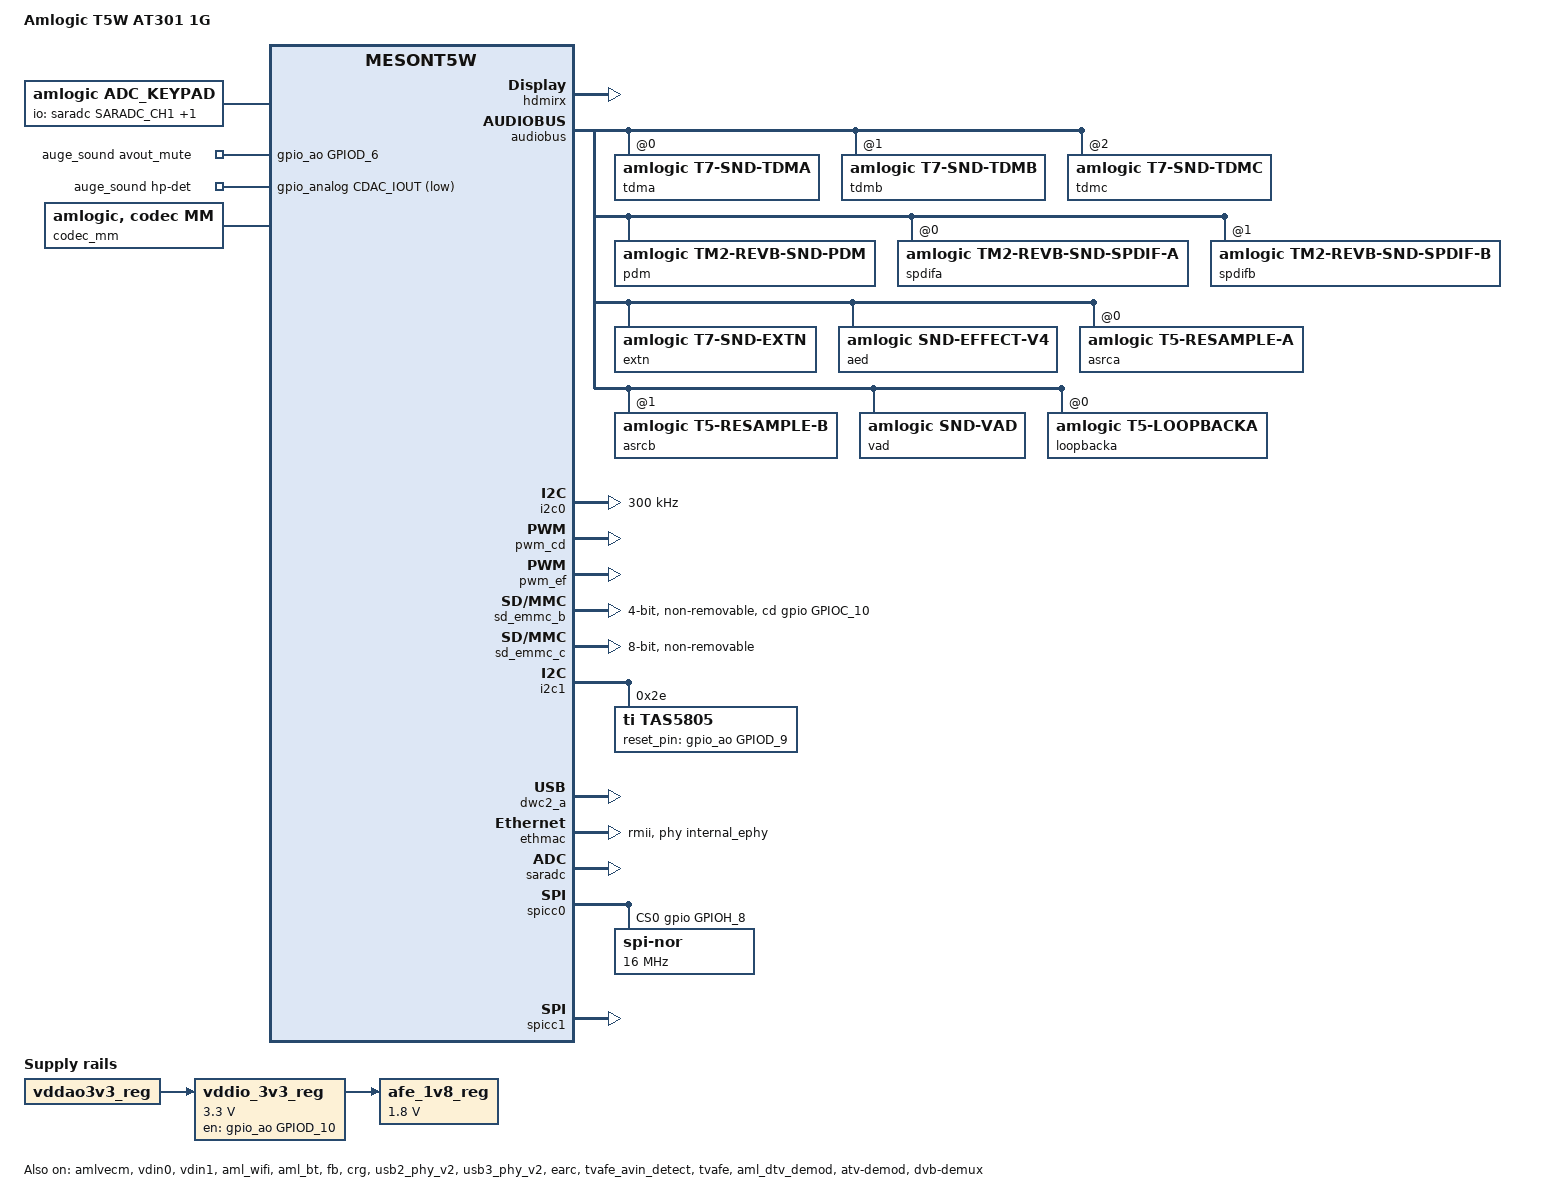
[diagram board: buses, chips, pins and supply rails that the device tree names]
// SPDX-License-Identifier: (GPL-2.0+ OR MIT)
/*
 * Copyright (c) 2021 Amlogic, Inc. All rights reserved.
 */

/dts-v1/;

#include "mesont5w.dtsi"
#include "partition_mbox_ab.dtsi"
#include "mesont5w_at301-panel.dtsi"

/ {
	model = "Amlogic T5W AT301 1G";
	amlogic-dt-id = "t5w_at301_1g";
	compatible = "amlogic, t5w";
	interrupt-parent = <&gic>;
	#address-cells = <2>;
	#size-cells = <2>;

	aliases {
		serial0 = &uart_B;
		serial1 = &uart_A;
		serial2 = &uart_C;
		i2c0 = &i2c0;
		i2c1 = &i2c1;
		i2c2 = &i2c2;
		i2c3 = &i2c3;
		spi1 = &spicc0;
		spi2 = &spicc1;
		spi3 = &spicc2;
		tsensor0 = &p_tsensor;
	};

	memory@00000000 {
		device_type = "memory";
		linux,usable-memory = <0x0 0x0 0x0 0x40000000>;
	};

	reserved-memory {
		#address-cells = <2>;
		#size-cells = <2>;
		ranges;
		/* global autoconfigured region for contiguous allocations */

		secmon_reserved: linux,secmon {
			compatible = "shared-dma-pool";
			reusable;
			size = <0x0 0x400000>;
			alignment = <0x0 0x400000>;
			alloc-ranges = <0x0 0x5000000 0x0 0x400000>;
		};

		logo_reserved:linux,meson-fb {
			compatible = "shared-dma-pool";
			reusable;
			/* keep sync with fb */
			/* fox example:logo_addr = "0x3f800000"*/
			size = <0x0 0x800000>;
			alignment = <0x0 0x400000>;
			alloc-ranges = <0x0 0x3f800000 0x0 0x800000>;
		};

		lcd_tcon_reserved:linux,lcd_tcon {
			compatible = "shared-dma-pool";
			reusable;
			/* alloc-ranges start should not be 0x0*/
			size = <0x0 0x00000000>;
			alignment = <0x0 0x400000>;
			/* alloc-ranges = <0x0 0x0 0x0 0x3f800000>; */
		};

		/*  vdin0 CMA pool */
		/*vdin0_cma_reserved:linux,vdin0_cma {*/
		/*	compatible = "shared-dma-pool";*/
		/*	reusable;*/
			/* up to 1920x1080 yuv422 8bit and 5 buffers
			 * 1920x1080x2x5 = 20 M
			 */
		/*	size = <0x0 0x01400000>;*/
		/*	alignment = <0x0 0x400000>;*/
		/*};*/
		/*  vdin1 CMA pool */
		vdin1_cma_reserved:linux,vdin1_cma {
			compatible = "shared-dma-pool";
			reusable;
			/* up to 1920x1080 yuv422 8bit and 5 buffers
			 * 1920x1080x2x5 = 20 M
			 */
			size = <0x0 0x01400000>;
			alignment = <0x0 0x400000>;
			alloc-ranges = <0x0 0x30000000 0x0 0x0f800000>;
		};

		codec_mm_cma:linux,codec_mm_cma {
			compatible = "shared-dma-pool";
			reusable;
			/* ion_codec_mm max can alloc size 80M*/
			size = <0x0 0x14c00000>;
			alignment = <0x0 0x400000>;
			linux,contiguous-region;
			alloc-ranges = <0x0 0x07400000 0x0 0x14c00000>;
		};

		/*di CMA pool */
		di_cma_reserved:linux,di_cma {
			compatible = "shared-dma-pool";
			reusable;
			/* buffer_size = 3621952(yuv422 8bit)
			 *  | 4736064(yuv422 10bit)
			 *  | 4074560(yuv422 10bit full pack mode)
			 * 10x3621952=34.6M(0x23) support 8bit
			 * 10x4736064=45.2M(0x2e) support 12bit
			 * 10x4074560=40M(0x28) support 10bit
			 */
			//size = <0x0 0x0B000000>;
			size = <0x0 0x0>;
			alignment = <0x0 0x400000>;
		};

		/* codec shared reserved */
		codec_mm_reserved:linux,codec_mm_reserved {
			compatible = "amlogic, codec-mm-reserved";
			size = <0x0 0x0>;
			alignment = <0x0 0x100000>;
			//no-map;
		};

		ion_cma_reserved:linux,ion-dev {
			compatible = "shared-dma-pool";
			reusable;
			/* device/amlogic/xxx/BoardConfig.mk
			 *        |HWC_PRIMARY_FRAMEBUFFER_WIDTH := 1920
			 *        |HWC_PRIMARY_FRAMEBUFFER_HEIGHT := 1080
			 *        |NUM_FRAMEBUFFER_SURFACE_BUFFERS := 3
			 * size = 1920 * 1080 * 3 * 4
			 * (RGBA: 4 bytes/pixel) + 4M(10% * afbc)
			 */
			size = <0x0 0x8000000>;
			alignment = <0x0 0x400000>;
			alloc-ranges = <0x0 0x30000000 0x0 0x0f800000>;
		};

		ion_fb_reserved:linux,ion-fb {
			compatible = "shared-dma-pool";
			reusable;
			/* 1920x1080x4x3 round up 4M align */
			size = <0x0 0x1c00000>;
			alignment = <0x0 0x400000>;
			alloc-ranges = <0x0 0x30000000 0x0 0x0f800000>;
		};

		ldc_mem_reserved:linux,ldc_mem {
			compatible = "shared-dma-pool";
			reusable;
			size = <0x0 0x400000>;
			alignment = <0x0 0x400000>;
			alloc-ranges = <0x0 0x30000000 0x0 0x0f800000>;
		};
	};

	vddio_3v3_reg: fixedregulator@5{
		vin-supply = <&vddao3v3_reg>;
		compatible = "regulator-fixed";
		regulator-name = "VDDIO_3V3";
		regulator-min-microvolt = <3300000>;
		regulator-max-microvolt = <3300000>;
		regulator-boot-on;
/*		pinctrl-names = "default"; */
		gpio = <&gpio_ao GPIOD_10 GPIO_ACTIVE_HIGH>;	/* gpio d 10 */
		startup-delay-us = <70000>;
		enable-active-high;
	};

	afe_1v8_reg: fixedregulator@6{
		compatible = "regulator-fixed";
		vin-supply = <&vddio_3v3_reg>;
		regulator-name = "AFE_1V8";
		regulator-min-microvolt = <1800000>;
		regulator-max-microvolt = <1800000>;
		regulator-boot-on;
		regulator-always-on;
	};

	unifykey{
		compatible = "amlogic,unifykey";
		status = "okay";
		unifykey-num = <24>;
		unifykey-index-0 = <&keysn_0>;
		unifykey-index-1 = <&keysn_1>;
		unifykey-index-2 = <&keysn_2>;
		unifykey-index-3 = <&keysn_3>;
		unifykey-index-4 = <&keysn_4>;
		unifykey-index-5 = <&keysn_5>;
		unifykey-index-6 = <&keysn_6>;
		unifykey-index-7 = <&keysn_7>;
		unifykey-index-8 = <&keysn_8>;
		unifykey-index-9 = <&keysn_9>;
		unifykey-index-10= <&keysn_10>;
		unifykey-index-11= <&keysn_11>;
		unifykey-index-12= <&keysn_12>;
		unifykey-index-13= <&keysn_13>;
		unifykey-index-14= <&keysn_14>;
		unifykey-index-15= <&keysn_15>;
		unifykey-index-16= <&keysn_16>;
		unifykey-index-17= <&keysn_17>;
		unifykey-index-18= <&keysn_18>;
		unifykey-index-19= <&keysn_19>;
		unifykey-index-20= <&keysn_20>;
		unifykey-index-21= <&keysn_21>;
		unifykey-index-22= <&keysn_22>;
		unifykey-index-23= <&keysn_23>;

		keysn_0: key_0{
			key-name = "usid";
			key-device = "normal";
			key-permit = "read","write","del";
		};
		keysn_1:key_1{
			key-name = "mac";
			key-device = "normal";
			key-permit = "read","write","del";
		};
		keysn_2:key_2{
			key-name = "hdcp";
			key-device = "secure";
			key-type = "sha1";
			key-permit = "read","write","del";
		};
		keysn_3:key_3{
			key-name = "secure_boot_set";
			key-device = "efuse";
			key-permit = "write";
		};
		keysn_4:key_4{
			key-name = "mac_bt";
			key-device = "normal";
			key-permit = "read","write","del";
			key-type  = "mac";
		};
		keysn_5:key_5{
			key-name = "mac_wifi";
			key-device = "normal";
			key-permit = "read","write","del";
			key-type = "mac";
		};
		keysn_6:key_6{
			key-name = "hdcp2_tx";
			key-device = "normal";
			key-permit = "read","write","del";
		};
		keysn_7:key_7{
			key-name = "hdcp2_rx";
			key-device = "normal";
			key-permit = "read","write","del";
		};
		keysn_8:key_8{
			key-name = "widevinekeybox";
			key-device = "secure";
			key-permit = "read","write","del";
		};
		keysn_9:key_9{
			key-name = "deviceid";
			key-device = "normal";
			key-permit = "read","write","del";
		};
		keysn_10:key_10{
			key-name = "hdcp22_fw_private";
			key-device = "secure";
			key-permit = "read","write","del";
		};
		keysn_11:key_11{
			key-name = "PlayReadykeybox25";
			key-device = "secure";
			key-permit = "read","write","del";
		};
		keysn_12:key_12{
			key-name = "prpubkeybox";// PlayReady
			key-device = "secure";
			key-permit = "read","write","del";
		};
		keysn_13:key_13{
			key-name = "prprivkeybox";// PlayReady
			key-device = "secure";
			key-permit = "read","write","del";
		};
		keysn_14:key_14{
			key-name = "attestationkeybox";// attestation key
			key-device = "secure";
			key-permit = "read","write","del";
		};
		keysn_15:key_15{
			key-name = "region_code";
			key-device = "normal";
			key-permit = "read","write","del";
		};
		keysn_16:key_16{
			key-name = "netflix_mgkid";
			key-device = "secure";
			key-permit = "read","write","del";
		};
		keysn_17:key_17{
			key-name = "attestationdevidbox";// attest dev id box
			key-device = "secure";
			key-permit = "read","write","del";
		};
		keysn_18:key_18{
			key-name = "oemkey";
			key-device = "normal";
			key-permit = "read","write","del";
		};
		keysn_19:key_19{
			key-name = "lcd";
			key-device = "normal";
			key-permit = "read","write","del";
		};
		keysn_20:key_20{
			key-name = "lcd_extern";
			key-device = "normal";
			key-permit = "read","write","del";
		};
		keysn_21:key_21{
			key-name = "backlight";
			key-device = "normal";
			key-permit = "read","write","del";
		};
		keysn_22:key_22{
			key-name = "lcd_tcon";
			key-device = "normal";
			key-permit = "read","write","del";
		};
		keysn_23:key_23{
			key-name = "lcd_tcon_spi";
			key-device = "normal";
			key-permit = "read","write","del";
		};
	};//End unifykey

	cvbsout {
		compatible = "amlogic, cvbsout-t5w";
		status = "okay";
		/* clk path */
		/* 0:vid_pll vid2_clk */
		/* 2:vid_pll vid1_clk */
		clk_path = <0>;

		/* performance: reg_address, reg_value */
		/* tm2 */
		performance = <0x1bf0  0x9
			0x1b56  0x333
			0x1b12  0x8080
			0x1b05  0xfd
			0x1c59  0xf850
			0xffff  0x0>; /* ending flag */
		performance_sarft = <0x1bf0  0x9
			0x1b56  0x333
			0x1b12  0x0
			0x1b05  0x9
			0x1c59  0xfc48
			0xffff  0x0>; /* ending flag */
		performance_revB_telecom = <0x1bf0  0x9
			0x1b56  0x546
			0x1b12  0x8080
			0x1b05  0x9
			0x1c59  0xf850
			0xffff  0x0>; /* ending flag */
	};

	/* for external keypad */
	adc_keypad {
		compatible = "amlogic, adc_keypad";
		status = "okay";
		key_name = "power","vol-","vol+","enter","menu","source","exit";
		key_num = <7>;
		io-channels = <&saradc SARADC_CH1>,<&saradc SARADC_CH2>;
		io-channel-names = "key-chan-1", "key-chan-2";
		key_chan = <SARADC_CH1 SARADC_CH1 SARADC_CH1 SARADC_CH1
			SARADC_CH1 SARADC_CH2 SARADC_CH2>;
		key_code = <116 114 115 28 139 466 174>;
		key_val = <0 143 266 389 507 143 266>; //val=voltage/1800mV*1023
		key_tolerance = <40 40 40 40 40 40 40>;
	};

	/* Audio Related start */
	auge_sound {
		compatible = "amlogic, auge-sound-card";
		aml-audio-card,name = "AML-AUGESOUND";

		avout_mute-gpios = <&gpio_ao GPIOD_6 GPIO_ACTIVE_HIGH>;

		/* headphone insert det */
		aml-audio-card,hp-det-gpio = <&gpio_analog CDAC_IOUT GPIO_ACTIVE_LOW>;

		interrupts = <GIC_SPI 235 IRQ_TYPE_EDGE_RISING>;
		interrupt-names = "audio_exception64";

		aml-audio-card,dai-link@0 {
			format = "i2s";
			mclk-fs = <256>;
			//continuous-clock;
			//bitclock-inversion;
			//frame-inversion;
			/* master mode */
			bitclock-master = <&tdma>;
			frame-master = <&tdma>;
			/* slave mode */
			/*
			 * bitclock-master = <&tdmacodec>;
			 * frame-master = <&tdmacodec>;
			 */
			/* suffix-name, sync with android audio hal used for */
			suffix-name = "alsaPORT-pcm";
			tdmacpu: cpu {
				sound-dai = <&tdma>;
				dai-tdm-slot-tx-mask =
							<1 1>;
				dai-tdm-slot-rx-mask =
							<1 1>;
				dai-tdm-slot-num = <2>;
				dai-tdm-slot-width = <32>;
				system-clock-frequency = <12288000>;
			};
			tdmacodec: codec {
				sound-dai = <&dummy_codec>;
			};
		};

		aml-audio-card,dai-link@1 {
			format = "i2s";
			mclk-fs = <256>;
			//continuous-clock;
			//bitclock-inversion;
			//frame-inversion;
			/* master mode */
			bitclock-master = <&tdmb>;
			frame-master = <&tdmb>;
			/* slave mode */
			//bitclock-master = <&tdmbcodec>;
			//frame-master = <&tdmbcodec>;
			/* suffix-name, sync with android audio hal used for */
			suffix-name = "alsaPORT-i2s-i2s4hdmirx";
			cpu {
				sound-dai = <&tdmb>;
				dai-tdm-slot-tx-mask = <1 1>;
				dai-tdm-slot-rx-mask = <1 1>;
				dai-tdm-slot-num = <2>;
				dai-tdm-slot-width = <32>;
				system-clock-frequency = <12288000>;
			};
			tdmbcodec: codec {
				prefix-names = "AMP";
				sound-dai = <&tas5805 &acodec>;
			};
		};

		aml-audio-card,dai-link@2 {
			format = "i2s";
			mclk-fs = <256>;
			//continuous-clock;
			//bitclock-inversion;
			//frame-inversion;
			/* master mode */
			bitclock-master = <&tdmc>;
			frame-master = <&tdmc>;
			/* slave mode */
			//bitclock-master = <&tdmccodec>;
			//frame-master = <&tdmccodec>;
			/* suffix-name, sync with android audio hal used for */
			suffix-name = "alsaPORT-i2s4parser";
			cpu {
				sound-dai = <&tdmc>;
				dai-tdm-slot-tx-mask = <1 1>;
				dai-tdm-slot-rx-mask = <1 1>;
				dai-tdm-slot-num = <2>;
				dai-tdm-slot-width = <32>;
				system-clock-frequency = <12288000>;
			};
			tdmccodec: codec {
				sound-dai = <&dummy_codec>;
			};
		};

		aml-audio-card,dai-link@3 {
			mclk-fs = <64>;
			/* suffix-name, sync with android audio hal used for */
			suffix-name = "alsaPORT-pdm";
			cpu {
				sound-dai = <&pdm>;
			};
			codec {
				sound-dai = <&dummy_codec>;
			};
		};

		aml-audio-card,dai-link@4 {
			mclk-fs = <128>;
			continuous-clock;
			/* suffix-name, sync with android audio hal used for */
			suffix-name = "alsaPORT-spdif";
			cpu {
				sound-dai = <&spdifa>;
				system-clock-frequency = <6144000>;
			};
			codec {
				sound-dai = <&dummy_codec>;
			};
		};

		aml-audio-card,dai-link@5 {
			mclk-fs = <128>;
			suffix-name = "alsaPORT-spdifb";
			cpu {
				sound-dai = <&spdifb>;
				system-clock-frequency = <6144000>;
			};
			codec {
				sound-dai = <&dummy_codec>;
			};
		};

		aml-audio-card,dai-link@6 {
			mclk-fs = <256>;
			suffix-name = "alsaPORT-tv";
			cpu {
				sound-dai = <&extn>;
				system-clock-frequency = <12288000>;
			};
			codec {
				sound-dai = <&dummy_codec>;
			};
		};

		aml-audio-card,dai-link@7 {
			mclk-fs = <256>;
			continuous-clock;
			suffix-name = "alsaPORT-loopback";
			cpu {
				sound-dai = <&loopbacka>;
				system-clock-frequency = <12288000>;
			};
			codec {
				sound-dai = <&dummy_codec>;
			};
		};

		aml-audio-card,dai-link@8 {
			mclk-fs = <256>;
			suffix-name = "alsaPORT-earc";
			cpu {
				sound-dai = <&earc>;
				system-clock-frequency = <12288000>;
			};
			codec {
				sound-dai = <&dummy_codec>;
			};
		};

	};

	codec_mm {
		compatible = "amlogic, codec, mm";
		memory-region = <&codec_mm_cma &codec_mm_reserved>;
		dev_name = "codec_mm";
		status = "okay";
	};

	tvafe_avin_detect {
		compatible = "amlogic, t5w_tvafe_avin_detect";
		status = "okay";
		device_mask = <1>;/*bit0:ch1;bit1:ch2*/
		reg = <0x0 0xffd00000 0x0 0xf0a0>; /* cvbs irq base */
		interrupts = <0 12 1>,
				<0 13 1>;
	};

	tvafe {
		compatible = "amlogic, tvafe-t5w";
		/*memory-region = <&tvafe_cma_reserved>;*/
		status = "okay";
		flag_cma = <1>;/*1:share with codec_mm;0:cma alone*/
		cma_size = <5>;/*MByte*/
		reg = <0x0 0xff654000 0x0 0x2000/*tvafe reg base*/
			0x0 0xff63C000 0x0 0x2000>; /*hiu reg base*/
		reserve-iomap = "true";
		tvafe_id = <0>;
		//pinctrl-names = "default";
		/*!!particular sequence, no more and no less!!!*/
		tvafe_pin_mux = <
				3 /* TVAFE_CVBS_IN2, CVBS_IN0 = 0 */
				1 /* TVAFE_CVBS_IN0, CVBS_IN1 */
				2 /* TVAFE_CVBS_IN1, CVBS_IN2 */
				4 /* TVAFE_CVBS_IN3, CVBS_IN3 */
		>;
		clocks = <&clkc CLKID_CDAC_CLK>;
		clock-names = "vdac_clk_gate";
		cutwindow_val_h = <0 0 0 0 8>; /* level 0~4 */
		cutwindow_val_v = <4 8 14 16 24>;  /* level 0~4 */
	};

	vbi {
		compatible = "amlogic, vbi";
		status = "okay";
		interrupts = <0 83 1>;
	};

	hdmirx {
		compatible = "amlogic, hdmirx_t5w";
		#address-cells=<1>;
		#size-cells=<1>;
		/*memory-region = <&hdmirx_emp_cma_reserved>;*/
		status = "okay";
		pinctrl-names = "hdmirx_pins";
		pinctrl-0 = <&hdmirx_a_mux &hdmirx_b_mux
			&hdmirx_c_mux>;
		repeat = <0>;
		/*power-domains = <&pwrdm PDID_T5W_HDMIRX>;*/
		interrupts = <0 41 IRQ_TYPE_LEVEL_HIGH>;
		clocks =<&clkc CLKID_HDMIRX_CFG>,
			   <&clkc CLKID_HDMIRX_ACR>,
			   <&clkc CLKID_HDMIRX_METER>,
			   <&clkc CLKID_HDMIRX_2M>,
			   <&clkc CLKID_HDMIRX_5M>,
			   <&clkc CLKID_HDMIRX_HDCP>,
			   <&xtal>,
			   <&clkc CLKID_FCLK_DIV4>,
			   <&clkc CLKID_FCLK_DIV5>;
		clock-names = "hdmirx_cfg_clk",
				"cts_hdmirx_acr_ref_clk",
				"cts_hdmirx_meter_clk",
				"cts_hdmirx_2m_clk",
				"cts_hdmirx_5m_clk",
				"cts_hdmirx_hdcp2x_eclk",
				"xtal",
				"fclk_div4",
				"fclk_div5";
		hdmirx_id = <0>;
		en_4k_2_2k = <0>;
		hpd_low_cec_off = <0>;
		arc_port = <1>;
		/* bit4: enable feature, bit3~0: port number */
		disable_port = <0x0>;
		/* MAP_ADDR_MODULE_CBUS */
		/* MAP_ADDR_MODULE_HIU */
		/* MAP_ADDR_MODULE_HDMIRX_CAPB3 */
		/* MAP_ADDR_MODULE_SEC_AHB */
		/* MAP_ADDR_MODULE_SEC_AHB2 */
		/* MAP_ADDR_MODULE_APB4 */
		/* MAP_ADDR_MODULE_TOP */
		/* MAP_ADDR_MODULE_CLK_CTRL */
		/* MAP_ADDR_MODULE_ANA_CTRL */
		reg = < 0x0 0x0 0x0 0x0
			0x0 0xff63C000 0x0 0x2000
			0x0 0xffe0d000 0x0 0x2000
			0x0 0x0 0x0 0x0
			0x0 0x0 0x0 0x0
			0x0 0x0 0x0 0x0
			0x0 0xff688000 0x0 0x18000
			0x0 0xff646000 0x0 0x1fff
			0x0 0xfe008000 0x280 0x334>;
	};

	aml_dtv_demod {
		compatible = "amlogic, ddemod-t5w";
		dev_name = "aml_dtv_demod";
		status = "okay";
		diseqc_name = "sgm_41286";
		pinctrl-names="if_agc_pins", "diseqc", "rf_agc_pins";
		pinctrl-0=<&dtvdemod_if_agc_pins>;
		pinctrl-1=<&diseqc_out>;
		pinctrl-2=<&dtvdemod_rf_agc_pins>;
		lnb_en-gpios = <&gpio GPIOZ_2 GPIO_ACTIVE_HIGH>;
		lnb_sel-gpios = <&gpio GPIOZ_3 GPIO_ACTIVE_HIGH>;
		interrupts = <GIC_SPI 142 IRQ_TYPE_EDGE_RISING>;
		interrupt-names = "demod_isr";

		power-domains = <&pwrdm PDID_T5_DEMOD>;
		clocks = <&clkc CLKID_DEMOD_32K>;
		clock-names = "demod_32k";

		reg = <0x0 0xff670000 0x0 0x10000	/*dtv demod base*/
			   0x0 0xff646000 0x0 0x2000	/*hiu reg base*/
			   0x0 0xff800000 0x0 0x1000	/*io_aobus_base*/
			   0x0 0xffd01000 0x0 0x1000	/*reset*/
			>;

		spectrum = <1>;
		cma_mem_size = <40>; // MB
	};

	atv-demod {
		compatible = "amlogic, atv-demod";
		status = "okay";
		btsc_sap_mode = <1>;
		interrupts = <0 236 1>;
		/* pinctrl-names="atvdemod_agc_pins"; */
		/* pinctrl-0=<&atvdemod_agc_pins>; */
		reg = <0x0 0xff656000 0x0 0x2000 /* demod reg */
				0x0 0xff646000 0x0 0x2000 /* hiu reg */
				0x0 0xff634400 0x0 0x400 /* periphs reg */
				0x0 0xff64a000 0x0 0x2000>; /* audio reg */
		reg_23cf = <0x88188832>;
		/*default:0x88188832;r840 on haier:0x48188832*/
	};

	dvb-extern {
		compatible = "amlogic, dvb-extern";
		dev_name = "dvb-extern";
		status = "okay";

		fe_num = <1>;
		fe0_demod = "internal";

		tuner_num = <2>; /* tuner number, multi tuner support */
		tuner0_name = "si2151_tuner";
		tuner0_i2c_adap = <&i2c0>;
		tuner0_i2c_addr = <0x60>; /* 7 bits */
		/* tuner0_xtal = <1>; */ /* unuse for si2151 */
		/* tuner0_xtal_mode = <0>; */
		/* tuner0_xtal_cap = <8>; */

		tuner1_name = "rt710_tuner";
		tuner1_i2c_adap = <&i2c0>;
		tuner1_i2c_addr = <0xF4>;  /* 8 bits */
		tuner1_xtal = <0>; /* 0: 16MHz, 1: 24MHz */
		tuner1_xtal_mode = <0>;
					/* NO_SHARE_XTAL(0)
					 * SLAVE_XTAL_SHARE(3)
					 */
		tuner1_xtal_cap = <30>;
	};

	dmx_aucpu: aucpu {
		compatible = "amlogic, aucpu";
		dev_name = "aml_aucpu";
		status = "okay";
		interrupts = <0 95 1>;
		interrupt-names = "aucpu_irq";

		#address-cells=<2>;
		#size-cells=<2>;
		ranges;
		io_reg_base{
			reg = <0x0 0xff650080 0x0 0x100>;
		};
	};

	dvb-demux {
		compatible = "amlogic sc2, dvb-demux";
		dev_name = "dvb-demux";
		status = "okay";

		reg = <0x0 0xff610000 0x0 0x10000
				0x0 0xff800000 0x0 0x10000>;

		dmxdev_num = <4>;

		tsn_from = "demod";

		ts2_sid = <0x12>;
		ts2 = "parallel";
		ts2_control = <0x0>;
		ts2_invert = <0>;

		ts1_sid = <0x11>;
		ts1 = "parallel";
		ts1_control = <0x0>;
		ts1_invert = <0>;
		pinctrl-names = "p_ts1";
		pinctrl-0 = <&dvb_p_ts1_pins>;
	};
	dvbci {
		compatible = "amlogic, dvbci";
		dev_name = "dvbci";
		io_type = <4>; /* 0=iobus,1=spi,2=cimax,3=spi-t312 4:T5D,ci bus*/
		addr_ts_mode_multiplex = <0>; /*AT301 not multi ts and addr,default 1*/
		le_enable_level = <0>; /*LE pin enable level*/
		/*gpio pin define*/
		pinctrl-names= "ci_ts_pins", "ci_addr_pins";
		pinctrl-0=<&dvb_ci_bus_pins_all &ci_ts_pins &ci_ts_clk_pins>;
		pinctrl-1=<&dvb_ci_bus_pins &ci_addr_pins &ci_gpio_pins>;
		reg = <0x0 0xffd20000 0x0 0x1FFF>;
		/*irq define*/
		interrupts = <0 186 1
				0 187 1>;
		interrupt-names = "irq_cmp",
					"irq_timeout";
		dvbci_io {
			/*gpio define  GPIOM_27 GPIOM_28 GPIOM_29*/
			cd_pin1 = <&gpio       GPIOM_27       GPIO_ACTIVE_HIGH>;
			pwr_pin = <&gpio       GPIOM_28       GPIO_ACTIVE_HIGH>;
			le_pin  = <&gpio       GPIOM_29       GPIO_ACTIVE_HIGH>;
		};
	};

    /* SMC */
	smartcard {
		compatible = "amlogic,smartcard-sc2";
		dev_name = "smartcard";
		status = "disabled";

		reg = <0x0 0xffd25000 0x0 0x1000>;
		irq_trigger_type = "GPIO_IRQ_LOW";

		reset_pin-gpios = <&gpio GPIOZ_3 GPIO_ACTIVE_HIGH>;
		detect_pin-gpios = <&gpio GPIOM_27 GPIO_ACTIVE_HIGH>;
		enable_5v3v_pin-gpios = <&gpio GPIOM_28 GPIO_ACTIVE_HIGH>;
		enable_pin-gpios = <&gpio GPIOZ_2 GPIO_ACTIVE_HIGH>;

		interrupts = <0 37 1>;
		interrupt-names = "smc0_irq";
		/*
		 *Smc clock source, if change this,
		 *you must adjust clk and divider in smartcard.c
		 */
		smc0_clock_source = <0>;
		/*0: high voltage on detect pin indicates card in.*/
		smc0_det_invert = <0>;
		smc0_5v3v_level = <0>;
		/*Ordinarily,smartcard controller needs a enable pin.*/
		smc_need_enable_pin = "yes";
		reset_level = <0>;
		smc0_enable_level = <0>;

		pinctrl-names = "default";
		pinctrl-0 = <&sd_iso7816_pins>;

		/* For NSK2 Smartcard
		 * pinctrl-names = "default", "pins-mode0", "pins-mode1",
		 *	"pins-mode2", "data-m0-h",
		 *	"data-m1-h", "data-m2-h",
		 *	"data-m0-l", "data-m1-l",
		 *	"data-m2-l";
		 * pinctrl-0 = <&sd_iso7816_pins>;
		 * pinctrl-1 = <&iso7816_pins_mode_0>;
		 * pinctrl-2 = <&iso7816_pins_mode_1>;
		 * pinctrl-3 = <&iso7816_pins_mode_2>;
		 * pinctrl-4 = <&iso7816_pin_data_m_0_h>;
		 * pinctrl-5 = <&iso7816_pin_data_m_1_h>;
		 * pinctrl-6 = <&iso7816_pin_data_m_2_h>;
		 * pinctrl-7 = <&iso7816_pin_data_m_0_l>;
		 * pinctrl-8 = <&iso7816_pin_data_m_1_l>;
		 * pinctrl-9 = <&iso7816_pin_data_m_2_l>;
		 */

		clocks = <&clkc CLKID_CLK81_SMARTCARD>;
		clock-names = "smartcard";
	};
}; /* end of reserved-memory */

/*audio soc*/
&audiobus {
	tdma:tdm@0 {
		compatible = "amlogic, t7-snd-tdma";
		#sound-dai-cells = <0>;

		dai-tdm-lane-slot-mask-in = <1 0>;
		dai-tdm-lane-slot-mask-out = <1 1>;
		dai-tdm-clk-sel = <0>;

		clocks = <&clkaudio CLKID_AUDIO_MCLK_A
				&clkc CLKID_MPLL0>;
		clock-names = "mclk", "clk_srcpll";

		status = "okay";
	};

	tdmb:tdm@1 {
		compatible = "amlogic, t7-snd-tdmb";
		#sound-dai-cells = <0>;

		dai-tdm-lane-slot-mask-in = <1 1 1 1>;
		dai-tdm-lane-slot-mask-out = <1 1 1 1>;
		dai-tdm-clk-sel = <1>;

		clocks = <&clkaudio CLKID_AUDIO_MCLK_B
				&clkc CLKID_MPLL1>;
		clock-names = "mclk", "clk_srcpll";
		pinctrl-names = "tdm_pins","tdmout_a_gpio";
		pinctrl-0 =
			<&tdm_b_pins
			&tdm_d0_pins
			&tdm_clk_pins>;
		pinctrl-1 = <&tdmout_a_gpio>;
		/*
		 * 0: tdmout_a;
		 * 1: tdmout_b;
		 * 2: tdmout_c;
		 * 3: spdifout;
		 * 4: spdifout_b;
		 */
		samesource_sel = <3>;
		/* In for ACODEC_ADC */
		/* tdmin-src-name = "acodec_adc"; */
		tdmin-src-name = "hdmirx";
		/*enable default mclk(12.288M), before extern codec start*/
		start_clk_enable = <1>;

		/*tdm clk tuning enable*/
		clk_tuning_enable = <1>;

		/* enable control gain */
		ctrl_gain = <1>;

		/* pcpd_monitor*/
		pcpd_monitor_src = <&pcpd_monitor_a>;
		status = "okay";

		/* !!!For --TV platform-- ONLY */
		Channel_Mask {
			/*i2s has 4 pins, 8channel, mux output*/
			Spdif_samesource_Channel_Mask = "i2s_2/3";
		};
	};

	tdmc:tdm@2 {
		compatible = "amlogic, t7-snd-tdmc";
		#sound-dai-cells = <0>;

		dai-tdm-lane-slot-mask-in = <1 1 1 1>;
		dai-tdm-lane-slot-mask-out = <1 0 0 0>;
		dai-tdm-clk-sel = <2>;

		clocks = <&clkaudio CLKID_AUDIO_MCLK_C
				&clkc CLKID_MPLL2>;
		clock-names = "mclk", "clk_srcpll";
		tdmin-src-name = "hdmirx";
		status = "okay";
	};

	pdm:pdm {
		compatible = "amlogic, tm2-revb-snd-pdm";
		#sound-dai-cells = <0>;

		clocks = <&clkaudio CLKID_AUDIO_GATE_PDM
			&clkc CLKID_FCLK_DIV3
			&clkc CLKID_MPLL3
			&clkaudio CLKID_AUDIO_PDMIN0
			&clkaudio CLKID_AUDIO_PDMIN1>;
		clock-names = "gate",
			"sysclk_srcpll",
			"dclk_srcpll",
			"pdm_dclk",
			"pdm_sysclk";

		pinctrl-names = "pdm_pins";
		pinctrl-0 = <&pdmin>;

		train_sample_count = <10>;

		/* mode 0~4, defalut:1 */
		filter_mode = <1>;

		status = "okay";
	};

	spdifa:spdif@0 {
		compatible = "amlogic, tm2-revb-snd-spdif-a";
		#sound-dai-cells = <0>;

		clocks = <&clkc CLKID_MPLL0
				&clkc CLKID_FCLK_DIV4
				&clkaudio CLKID_AUDIO_GATE_SPDIFIN
				&clkaudio CLKID_AUDIO_GATE_SPDIFOUT_A
				&clkaudio CLKID_AUDIO_SPDIFIN
				&clkaudio CLKID_AUDIO_SPDIFOUT_A>;
		clock-names = "sysclk", "fixed_clk", "gate_spdifin",
				"gate_spdifout", "clk_spdifin", "clk_spdifout";

		interrupts =
				<GIC_SPI 151 IRQ_TYPE_EDGE_RISING>;
		interrupt-names = "irq_spdifin";

		pinctrl-names = "spdif_pins",
			"spdif_pins_mute";
		pinctrl-0 = <&spdifout_d8_pins
				&spdifin_z19_pins>;
		pinctrl-1 = <&spdifout_d8_mute>;

		/*
		 * 0: tdmout_a;
		 * 1: tdmout_b;
		 * 2: tdmout_c;
		 * 3: spdifout;
		 * 4: spdifout_b;
		 * 5: earc;
		 */

		samesource_sel = <5>;

		/*spdif clk tuning enable*/
		clk_tuning_enable = <1>;
		status = "okay";
	};

	spdifb:spdif@1 {
		compatible = "amlogic, tm2-revb-snd-spdif-b";
		#sound-dai-cells = <0>;

		clocks = <&clkc CLKID_MPLL2 /*CLKID_HIFI_PLL*/
				&clkaudio CLKID_AUDIO_GATE_SPDIFOUT_B
				&clkaudio CLKID_AUDIO_SPDIFOUT_B>;
		clock-names = "sysclk",
				"gate_spdifout", "clk_spdifout";
		status = "okay";
	};

	extn:extn {
		compatible = "amlogic, t7-snd-extn";
		#sound-dai-cells = <0>;

		interrupts =
				<GIC_SPI 158 IRQ_TYPE_EDGE_RISING>;
		interrupt-names = "irq_frhdmirx";

		status = "okay";
	};

	aed:effect {
		compatible = "amlogic, snd-effect-v4";
		#sound-dai-cells = <0>;

		clocks = <&clkaudio CLKID_AUDIO_GATE_EQDRC
			&clkc CLKID_FCLK_DIV5
			&clkaudio CLKID_AUDIO_EQDRC>;
		clock-names = "gate", "srcpll", "eqdrc";

		/*
		 * 0:tdmout_a
		 * 1:tdmout_b
		 * 2:tdmout_c
		 * 3:spdifout
		 * 4:spdifout_b
		 */
		eqdrc_module = <1>;
		/* max 0xf, each bit for one lane, usually one lane */
		lane_mask = <0x1>;
		/* max 0xff, each bit for one channel */
		channel_mask = <0xff>;

		status = "okay";
	};

	asrca: resample@0 {
		compatible = "amlogic, t5-resample-a";
		clocks = <&clkc CLKID_MPLL1
			&clkaudio CLKID_AUDIO_MCLK_B
			&clkaudio CLKID_AUDIO_RESAMPLE_A>;
		clock-names = "resample_pll", "resample_src", "resample_clk";

		/*same with toddr_src
		 *	TDMIN_A,    0
		 *	TDMIN_B,    1
		 *	TDMIN_C,    2
		 *	SPDIFIN,    3
		 *	PDMIN,      4
		 *	FRATV,      5
		 *	TDMIN_LB,   6
		 *	LOOPBACK_A, 7
		 *	FRHDMIRX,   8
		 *	LOOPBACK_B, 9
		 *	SPDIFIN_LB, 10
		 *	EARC_RX,    11
		 */
		resample_module = <8>;

		status = "okay";
	};

	asrcb: resample@1 {
		compatible = "amlogic, t5-resample-b";
		clocks = <&clkc CLKID_MPLL3
			&clkaudio CLKID_AUDIO_MCLK_F
			&clkaudio CLKID_AUDIO_RESAMPLE_B>;
		clock-names = "resample_pll", "resample_src", "resample_clk";

		/*this resample is only used for loopback_A.*/

		status = "okay";
	};

	vad:vad {
		compatible = "amlogic, snd-vad";
		#sound-dai-cells = <0>;

		clocks = <&clkaudio CLKID_AUDIO_GATE_TOVAD
			&clkc CLKID_FCLK_DIV5
			&clkaudio CLKID_AUDIO_VAD>;
		clock-names = "gate", "pll", "clk";

		interrupts = <GIC_SPI 155 IRQ_TYPE_EDGE_RISING
				GIC_SPI 47 IRQ_TYPE_EDGE_RISING>;
		interrupt-names = "irq_wakeup", "irq_frame_sync";

		/*
		 * Data src sel:
		 * 0: tdmin_a;
		 * 1: tdmin_b;
		 * 2: tdmin_c;
		 * 3: spdifin;
		 * 4: pdmin;
		 * 5: loopback_b;
		 * 6: tdmin_lb;
		 * 7: loopback_a;
		 */
		src = <4>;

		/*
		 * deal with hot word in user space or kernel space
		 * 0: in user space
		 * 1: in kernel space
		 */
		level = <1>;

		mic-src = <&pdm>;
		wakeup_sample_rate = <16000>;

		status = "okay";
	};

	loopbacka:loopback@0 {
		compatible = "amlogic, t5-loopbacka";
		#sound-dai-cells = <0>;

		clocks = <&clkaudio CLKID_AUDIO_GATE_PDM
			&clkc CLKID_FCLK_DIV3
			&clkc CLKID_MPLL3
			&clkaudio CLKID_AUDIO_PDMIN0
			&clkaudio CLKID_AUDIO_PDMIN1
			&clkc CLKID_MPLL0
			&clkaudio CLKID_AUDIO_MCLK_A>;
		clock-names = "pdm_gate",
			"pdm_sysclk_srcpll",
			"pdm_dclk_srcpll",
			"pdm_dclk",
			"pdm_sysclk",
			"tdminlb_mpll",
			"tdminlb_mclk";

		/* datain src
		 * 0: tdmin_a;
		 * 1: tdmin_b;
		 * 2: tdmin_c;
		 * 3: spdifin;
		 * 4: pdmin;
		 */
		datain_src = <4>;
		datain_chnum = <4>;
		datain_chmask = <0xf>;
		/* config which data pin for loopback */
		datain-lane-mask-in = <1 1 0 0>;

		/* calc mclk for datalb */
		mclk-fs = <256>;

		/* tdmin_lb src
		 * 0: tdmoutA
		 * 1: tdmoutB
		 * 2: tdmoutC
		 * 3: PAD_TDMINA_DIN*, refer to core pinmux
		 * 4: PAD_TDMINB_DIN*, refer to core pinmux
		 * 5: PAD_TDMINC_DIN*, refer to core pinmux
		 * 6: PAD_TDMINA_D*, oe, refer to core pinmux
		 * 7: PAD_TDMINB_D*, oe, refer to core pinmux
		 */
		/* if tdmin_lb >= 3, use external loopback */
		datalb_src = <1>;
		datalb_chnum = <2>;
		datalb_chmask = <0x3>;
		/* config which data pin as loopback */
		datalb-lane-mask-in = <1 0 0 0>;

		/* define loopack with pdm mic. */
		mic-src = <&pdm>;

		status = "okay";
	};

	loopbackb:loopback@1 {
		compatible = "amlogic, t5-loopbackb";
		#sound-dai-cells = <0>;

		clocks = <&clkaudio CLKID_AUDIO_GATE_PDM
			&clkc CLKID_FCLK_DIV3
			&clkc CLKID_MPLL3
			&clkaudio CLKID_AUDIO_PDMIN0
			&clkaudio CLKID_AUDIO_PDMIN1
			&clkc CLKID_MPLL0
			&clkaudio CLKID_AUDIO_MCLK_A>;
		clock-names = "pdm_gate",
			"pdm_sysclk_srcpll",
			"pdm_dclk_srcpll",
			"pdm_dclk",
			"pdm_sysclk",
			"tdminlb_mpll",
			"tdminlb_mclk";

		/* calc mclk for datain_lb */
		mclk-fs = <256>;

		/* datain src
		 * 0: tdmin_a;
		 * 1: tdmin_b;
		 * 2: tdmin_c;
		 * 3: spdifin;
		 * 4: pdmin;
		 */
		datain_src = <4>;
		datain_chnum = <4>;
		datain_chmask = <0xf>;
		/* config which data pin for loopback */
		datain-lane-mask-in = <1 0 1 0>;

		/* tdmin_lb src
		 * 0: tdmoutA
		 * 1: tdmoutB
		 * 2: tdmoutC
		 * 3: PAD_TDMINA_DIN*, refer to core pinmux
		 * 4: PAD_TDMINB_DIN*, refer to core pinmux
		 * 5: PAD_TDMINC_DIN*, refer to core pinmux
		 * 6: PAD_TDMINA_D*, oe, refer to core pinmux
		 * 7: PAD_TDMINB_D*, oe, refer to core pinmux
		 */
		/* if tdmin_lb >= 3, use external loopback */
		datalb_src = <1>;
		datalb_chnum = <2>;
		datalb_chmask = <0x3>;
		/* config which data pin as loopback */
		datalb-lane-mask-in = <1 0 0 0>;

		status = "disabled";
	};
}; /* end of audiobus */

&dim { /*multi-di*/
	//status = "okay";
	/***************************************************
	 * memory: default is 4
	 *	0:use reserved;
	 *	1:use cma;
	 *	2:use cma as reserved
	 *  4:use codec mem
	 ***************************************************/
	flag_cma = <4>;//
	//memory-region = <&di_cma_reserved>;
	/***************************************************
	 * clock-range: <min max>
	 *	default: <334 667>
	 ***************************************************/
	//clock-range = <334 667>;
	/***************************************************
	 * en_4k: disable 4K
	 ***************************************************/
	en_4k = <0>;
	//keep_dec_vf = <2>;
	//po_fmt = <6>;
	/***************************************************
	 * post_nub: default is 11 (T7/T3/SC2/S4 new path)
	 * local 5*4075520 = 20
	 * post 9*5222400 = 47
	 ***************************************************/
	post_nub = <9>;
	/***************************************************
	 * 0:not support
	 * bit 0: for 4k
	 * bit 1: for 1080p
	 ***************************************************/
	alloc_sct = <0>;
	en_dat = <0>;
	/***************************************************
	 * hf: default is 0 (T7/T3/SC2/S4 new path)
	 * 0:not enable;
	 * 1: enable
	 ***************************************************/
	//hf = <0>;
};/* end of multi-di */

&i2c0 {
	status = "okay";
	clock-frequency = <300000>;
	pinctrl-names="default";
	pinctrl-0=<&i2c0_z_pins>;
};

&i2c2 {
	status = "disable";
	clock-frequency = <100000>;
	pinctrl-names="default";
	pinctrl-0=<&i2c2_h_pins1>;

	lcd_extern_i2c0: lcd_extern_i2c@29 {
		compatible = "lcd_ext, i2c";
		dev_name = "i2c_HV650LS";
		reg = <0x29>;
		status = "okay";
	};

	lcd_extern_i2c1: lcd_extern_i2c@33 {
		compatible = "lcd_ext, i2c";
		dev_name = "i2c_CS602";
		reg = <0x33>;
		status = "okay";
	};
};

&pwm_cd {
	status = "okay";
};

&pwm_ef {
	pinctrl-0 = <&pwm_f_pins2>;
	pinctrl-names = "default";
	status = "okay";
};

/* SD card */
&sd_emmc_b {
	status = "okay";
	pinctrl-0 = <&sd_all_pins>;
	pinctrl-1 = <&sd_1bit_pins>;
	pinctrl-2 = <&sd_clk_gate_pins>;
	pinctrl-names = "sd_default",
			"sd_1bit_pins",
			"clk-gate";
	bus-width = <4>;
	cap-sd-highspeed;
//	sd-uhs-sdr12;
//	sd-uhs-sdr25;
//	sd-uhs-sdr50;
//	sd_uhs-sdr104;
	max-frequency = <200000000>;

	disable-wp;
	non-removable;
//	amlogic,dram-access-quirk;

	cd-gpios = <&gpio GPIOC_10 GPIO_ACTIVE_HIGH>;
//	dat1-gpios = <&gpio GPIOC_1 GPIO_ACTIVE_HIGH>;
	//vmmc-supply = <&vddao_3v3>;
	//vqmmc-supply = <&emmc_1v8>;
};

&sd_emmc_c {
	status = "okay";
	pinctrl-names = "default", "clk-gate";
	pinctrl-0 = <&emmc_clk_cmd_pins>;
	pinctrl-1 = <&emmc_conf_pull_up &emmc_conf_pull_done>;
	pinctrl-2 = <&emmc_pins_sleep>;

	bus-width = <8>;
	cap-mmc-highspeed;
	//mmc-ddr-1_8v;
	mmc-hs200-1_8v;
	mmc-hs400-1_8v;
	max-frequency = <200000000>;
	non-removable;
	disable-wp;

//	mmc-pwrseq = <&emmc_pwrseq>;
//	vmmc-supply = <&vddao_3v3>;
//	vqmmc-supply = <&vddao_1v8>;
};

&mtd_nand {
	status = "disabled";
	#address-cells = <1>;
	#size-cells = <0>;

	bl_mode = <1>;
	fip_copies = <4>;
	fip_size = <0x200000>;
	ship_bad_block = <1>;
	disa_irq_flag = <1>;

	nand@bootloader {
		reg = <0>;
		#address-cells = <1>;
		#size-cells = <1>;
		nand-ecc-maximize;
		partition@0 {
			label = "bootloader";
			reg = <0x0 0x00000000>;
		};
	};
	nand@normal {
		reg = <0>;
		#address-cells = <1>;
		#size-cells = <1>;
		nand-ecc-maximize;

		partition@0 {
			label = "tpl";
			reg = <0x0 0x00000000>;
		};
		partition@1 {
			label = "logo";
			reg = <0x0 0x00200000>;
		};
		partition@2 {
			label = "recovery";
			reg = <0x0 0x1000000>;
		};
		partition@3 {
			label = "boot";
			reg = <0x0 0x0F00000>;
		};
		partition@4 {
			label = "system";
			reg = <0x0 0x11800000>;
		};
		partition@5 {
			label = "data";
			reg = <0x0 0xffffffff>;
		};
	};
};

&i2c1 {
	pinctrl-names = "default";
	pinctrl-0 = <&i2c1_ao_pins1>;
	status = "okay";
};

&amlvecm {
	status = "okay";
	gamma_en = <1>;/*1:enabel ;0:disable*/
	wb_en = <1>;/*1:enabel ;0:disable*/
	cm_en = <1>;/*1:enabel ;0:disable*/
	wb_sel = <0>;/*1:mtx ;0:gainoff*/
	vlock_en = <1>;/*1:enable;0:disable*/
	vlock_mode = <0x8>;
	/*vlock work mode:
	 *bit0:auto ENC
	 *bit1:auto PLL
	 *bit2:manual PLL
	 *bit3:manual ENC
	 *bit4:manual soft ENC
	 *bit5:manual MIX PLL ENC
	 */
	 vlock_pll_m_limit = <1>;
	 vlock_line_limit = <2>;
};

/*if you want to use vdin just modify status to "ok"*/
&vdin0 {
	/*memory-region = <&vdin0_cma_reserved>;*/
	status = "okay";
	/*MByte, if 10bit disable: 64M(YUV422),
	 *if 10bit enable: 64*1.5 = 96M(YUV422)
	 *if support 4K2K-YUV444-10bit-WR:3840*2160*4*4 ~= 128M
	 *if support 4K2K-YUV422-10bit-wr:3840*2160*3*4 ~= 96M
	 *if support 4K2K-YUV422-8BIT-WR:3840*2160*2*4 ~= 64M
	 *if support 1080p-YUV422-8BIT-WR:1920*1080*2*4 ~= 16M
	 * onebuffer:
	 * worst case:(4096*2160*3 + 2M(afbce issue)) = 27.5M
	 * dw:960x540x3 = 1.5M
	 * total size:(27.5+1.5)x buffernumber
	 */
	cma_size = <300>;
	frame_buff_num = <8>;
};

&vdin1 {
	memory-region = <&vdin1_cma_reserved>;
	status = "okay";
};

&aml_wifi{
	status = "okay";
	interrupt-gpios = <&gpio  GPIOC_12  GPIO_ACTIVE_HIGH>;
	power_on-gpios = <&gpio   GPIOC_11  GPIO_ACTIVE_HIGH>;
};

&aml_bt {
	status = "okay";
	reset-gpios = <&gpio    GPIOC_13 GPIO_ACTIVE_HIGH>;
	//hostwake-gpios = <&gpio GPIOC_14 GPIO_ACTIVE_HIGH>;
};

&fb {
	status = "okay";
	display_size_default = <1920 1080 1920 2160 32>;
	mem_size = <0x00800000 0x1980000 0x100000 0x100000>;
	logo_addr = "0x3f800000";
	/* display_device_cnt = <2>; */ /* for dual screen upport */
	mem_alloc = <0>;
	pxp_mode = <0>; /** 0:normal mode 1:pxp mode */
};

&crg {
	status = "okay";
};

&usb2_phy_v2 {
	status = "okay";
	portnum = <3>;
};

&usb3_phy_v2 {
	status = "okay";
	portnum = <0>;
	portconfig-30 = <0>;
	portconfig-31 = <0>;
	otg = <0>;
};

&dwc2_a {
	status = "okay";
	/** 0: normal, 1: otg+dwc3 host only, 2: otg+dwc3 device only*/
	controller-type = <1>;
};

&ethmac {
	status = "okay";
	phy-handle = <&internal_ephy>;
	phy-mode = "rmii";
};

&pinctrl_periphs {
	pdmin: pdmin {
		mux { /* GPIOH_19, GPIOH_18 */
			groups = "pdm_dclk_h19",
				"pdm_din0_h18",
				"pdm_din1_h14";
			function = "pdm";
		};
	};
	tdm_b_pins: tdm_a_pin {
		mux { /* GPIOH_16, GPIOH_15, GPIOH_17 */
			groups = "tdm_sclk1_h",
				"tdm_fs1_h",
				"tdm_d0_h";
			function = "tdm";
		};
	};

	tdmout_a_gpio: tdmout_a_gpio {
		mux { /* GPIOH_15, GPIOH_16, GPIOH_17 */
			groups ="GPIOH_15",
				"GPIOH_16",
				"GPIOH_17";
			function = "gpio_periphs";
			output-low;
		};
	};

	/*backlight*/
	bl_pwm_vs_on_pins:bl_pwm_vs_on_pin {
		mux {
			groups = "pwm_vs_h12";
			function = "pwm_vs";
		};
	};
	bl_pwm_off_pins:bl_pwm_off_pin {
		mux {
			groups = "GPIOH_12";
			function = "gpio_periphs";
			output-low;
		};
	};

	bl_pwm_combo_0_vs_on_pins:bl_pwm_combo_0_vs_on_pin {
		mux {
			groups = "pwm_vs_h12";
			function = "pwm_vs";
		};
	};
	bl_pwm_combo_1_vs_on_pins:bl_pwm_combo_1_vs_on_pin {
		mux {
			groups = "pwm_vs_h13";
			function = "pwm_vs";
		};
	};
	bl_pwm_combo_off_pins:bl_pwm_combo_off_pin {
		mux {
			groups = "GPIOH_12","GPIOH_13";
			function = "gpio_periphs";
			output-low;
		};
	};
};

&vdac {
	cdac_disable = <1>;
};

&saradc {
	status = "okay";
};

&pinctrl_audio {
	tdm_d0_pins: tdm_d0_pin {
		mux {
			groups = "tdm_d0";
			function = "tdmoutb_lane0";
		};
	};
	tdm_clk_pins: tdm_clk_pin {
		mux {
			groups = "tdm_sclk0", "tdm_lrclk0";
			function = "tdm_clk_outb";
		};
	};
};

&i2c1 {
	status = "okay";
	tas5805: tas5805@2e {
		compatible = "ti, tas5805";
		#sound-dai-cells = <0>;
		codec_name = "tas5805";
		reset_pin = <&gpio_ao GPIOD_9 GPIO_ACTIVE_HIGH>;
		reg = <0x2e>;
		status = "okay";
	};
};

&uart_A {
	status = "disabled";
	uart-has-rtscts;
};

&earc {
	status = "okay";
};

&spicc0 {	//for TCON/SPINOR
	status = "okay";
	pinctrl-names = "default";
	pinctrl-0 = <&spicc0_pins_h>;
	cs-gpios = <&gpio GPIOH_8 GPIO_ACTIVE_HIGH>;
	spi-nor@0 {
		compatible = "jedec,spi-nor";
		status = "okay";
		reg = <0>;
		spi-max-frequency = <16000000>;
	};
};

&spicc1 {	//for UWB/LocalDimm
	status = "okay";
	pinctrl-names = "default";
	pinctrl-0 = <&spicc1_pins>;
	cs-gpios = <&gpio GPIOH_22 GPIO_ACTIVE_HIGH>;
};

&spicc2 {
	status = "disabled";
	pinctrl-names = "default";
	pinctrl-0 = <&spicc2_pins>;
	cs-gpios = <&gpio GPIOC_3 GPIO_ACTIVE_HIGH>;
};

&cma_shrinker {
	free = <7680 24288 28528 32600 32768 36624>;
};
